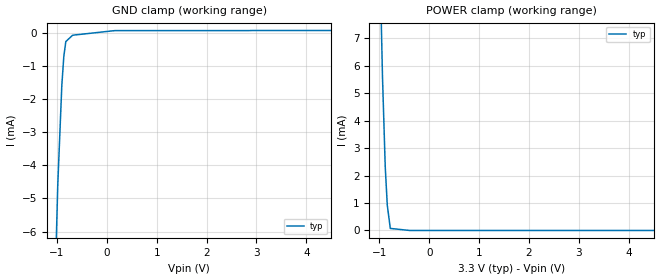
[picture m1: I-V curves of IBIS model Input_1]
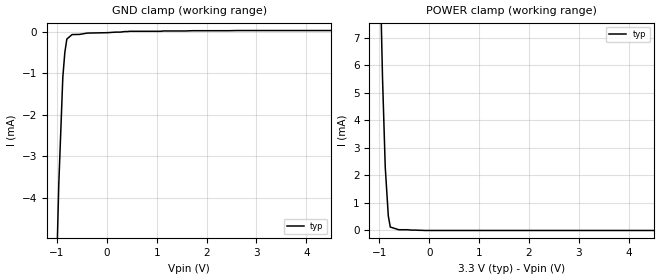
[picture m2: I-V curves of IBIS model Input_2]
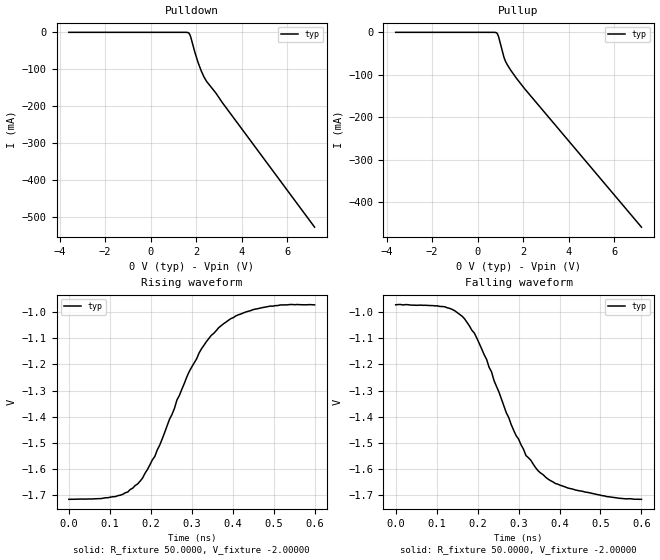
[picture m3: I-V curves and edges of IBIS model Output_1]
|COPYRIGHT(C) TERASPEED CONSULTING GROUP LLC 2003 ALL
|RIGHTS RESERVED. THIS WORK CONTAINS PROPRIETARY
|INFORMATION WHICH IS THE PROPERTY OF TERASPEED
|CONSULTING GROUP LLC OR ITS LICENSORS. USE OF THESE
|MATERIALS IS SUBJECT TO THE TERMS BELOW.
|USE: TERASPEED HAS LICENSED IBIS MODELS TO
|SPECIFIC INTEGRATED CIRCUIT SUPPLIERS ("IC VENDORS")
|FOR USE AND DISTRIBUTION AS FOLLOWS: EACH IC VENDOR
|MAY USE IBIS MODELS, AND DISTRIBUTE THEM TO IC VENDOR'S
|CUSTOMERS TO USE, SOLELY FOR DEVELOPING PRINTED
|CIRCUIT BOARD DESIGNS. NO OTHER USE OR DISTRIBUTION
|OF THESE MATERIALS IS PERMITTED.
|DISCLAIMER OF WARRANTY:  UNLESS OTHERWISE AGREED
|IN WRITING, TERASPEED SOFTWARE AND ASSOCIATED
|FILES ARE PROVIDED "AS IS" AND WITHOUT WARRANTY.
|TERASPEED HAS NO OBLIGATION TO SUPPORT OR
|OTHERWISE MAINTAIN SOFTWARE.  TERASPEED MAKES
|NO WARRANTIES, EXPRESS OR IMPLIED WITH RESPECT TO
|SOFTWARE INCLUDING ANY WARRANTY OF MERCHANTABILITY
|OR FITNESS FOR A PARTICULAR PURPOSE.
|LIMITATION OF LIABILITY:  TERASPEED IS NOT LIABLE FOR
|ANY PROPERTY DAMAGE, PERSONAL INJURY, LOSS OF PROFITS,
|INTERRUPTION OF BUSINESS, OR FOR ANY OTHER SPECIAL,
|CONSEQUENTIAL OR INCIDENTAL DAMAGES, HOWEVER CAUSED,
|WHETHER FOR BREACH OF WARRANTY, CONTRACT, TORT
|(INCLUDING NEGLIGENCE), STRICT LIABILITY OR OTHERWISE. IN NO
|EVENT SHALL TERASPEED'S LIABILITY EXCEED THE AMOUNT
|PAID FOR THE PRODUCT GIVING RISE TO THE CLAIM.
|TRADEMARKS:  THE FOLLOWING ARE REGISTERED TRADEMARKS
|OR SERVICE MARKS OF TERASPEED CONSULTING GROUP LLC:
|THE FOLLOWING ARE TRADEMARKS OR SERVICE MARKS OF
|TERASPEED CONSULTING GROUP LLC:
|ALL OTHER BRANDS AND PRODUCT NAMES ARE TRADEMARKS OF
|THEIR RESPECTIVE OWNERS
|COPIES:  ALL COPIES OF SOFTWARE, INCLUDING BUT NOT LIMITED
|TO ANY MODIFICATIONS, ENHANCEMENTS OR DERIVATIVE WORKS
|MUST CONTAIN ALL TERASPEED'S NOTICES AND LEGENDS,
|INCLUDING THOSE EMBEDDED IN SOFTWARE AND THOSE AFFIXED
|TO THE SOFTWARE MEDIUM AND CONTAINER, AS RECEIVED FROM
|TERASPEED.
[IBIS Ver] 3.2
[File Name] nb100lvep91mn_33v.ibs
[File Rev] 4.0
[Source] Measured and created by Teraspeed Consulting Group LLC
[Date]   8/11/2003
[Notes]  Quality Check of this IBIS model: Model Passes IBIS Check. Model
   parses into ICX IS.
   1. Package model data for LC gained by using TDA Systems Software.
   2. MN suffix added to name indicating 24 ld QFN
[Copyright]
|COPYRIGHT(C) TERASPEED CONSULTING GROUP LLC 2003 ALL
|RIGHTS RESERVED. THIS WORK CONTAINS PROPRIETARY
|INFORMATION WHICH IS THE PROPERTY OF TERASPEED
|CONSULTING GROUP LLC OR ITS LICENSORS. USE OF THESE
|MATERIALS IS SUBJECT TO THE TERMS BELOW.
|USE: TERASPEED HAS LICENSED IBIS MODELS TO
|SPECIFIC INTEGRATED CIRCUIT SUPPLIERS ("IC VENDORS")
|FOR USE AND DISTRIBUTION AS FOLLOWS: EACH IC VENDOR
|MAY USE IBIS MODELS, AND DISTRIBUTE THEM TO IC VENDOR'S
|CUSTOMERS TO USE, SOLELY FOR DEVELOPING PRINTED
|CIRCUIT BOARD DESIGNS. NO OTHER USE OR DISTRIBUTION
|OF THESE MATERIALS IS PERMITTED.
|  Teraspeed Spectrum Model Builder
[Component] NB100LVEP91MN_3.3V
[Manufacturer] OnSemiConductor
[Package]
| variable   typ   min   max
R_pkg  .158ohms   .158ohms   .158ohms
L_pkg  3.37nH   3.37nH   3.37nH
C_pkg  .4pF   .4pF   .4pF
[Pin] signal_name  model_name  R_pin  L_pin C_pin
1   VCC   POWER   0.158ohms   3.37nH   0.4pF
2   D0   Input_1   0.158ohms   3.37nH   0.4pF
3   _D0   Input_2   0.158ohms   3.37nH   0.4pF
4   VBB   POWER   0.158ohms   3.37nH   0.4pF
5   D1   Input_1   0.158ohms   3.37nH   0.4pF
6   _D1   Input_2   0.158ohms   3.37nH   0.4pF
7   VBB   POWER   0.158ohms   3.37nH   0.4pF
8   D2   Input_1   0.158ohms   3.37nH   0.4pF
9   _D2   Input_2   0.158ohms   3.37nH   0.4pF
10  VEE   POWER   0.158ohms   3.37nH   0.4pF
11  NC   NC   0.158ohms   3.37nH   0.4pF
12  _Q2   Output_1   0.158ohms   3.37nH   0.4pF
13  Q2   Output_1   0.158ohms   3.37nH   0.4pF
14  GND   GND   0.158ohms   3.37nH   0.4pF
15  _Q1   Output_1   0.158ohms   3.37nH   0.4pF
16  Q1   Output_1   0.158ohms   3.37nH   0.4pF
17  GND   GND   0.158ohms   3.37nH   0.4pF
18  _Q0   Output_1   0.158ohms   3.37nH   0.4pF
19  Q0   Output_1   0.158ohms   3.37nH   0.4pF
20  VCC   POWER   0.158ohms   3.37nH   0.4pF
[Diff Pin] inv_pin vdiff tdelay_typ tdelay_min tdelay_max
2  3   200mV  NA   NA   NA
5  6   200mV  NA   NA   NA
8  9   200mV  NA   NA   NA
13 12  NA   500p  375p  650p
16 15  NA   500p  375p  650p
19 18  NA   500p  375p  650p
| Models and submodels in the file (3): Input_1 (Input), Input_2 (Input), Output_1 (Output_ECL)
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[Model] Input_1
Model_type Input
Vinl = 875.000mV
Vinh = 1.275000V
C_comp 2.00000pF 2.00000pF 2.00000pF
| variable typ   min   max
[Voltage Range]   3.30000V   NA   NA
[POWER Clamp Reference] 3.30000V   NA   NA
[GND Clamp Reference]   0.00000V   NA   NA
[Temperature Range] 25   NA   NA
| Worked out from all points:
|   GND clamp passes 1 mA (typ) near -0.87 V on its own axis
|   POWER clamp passes 1 mA (typ) near -0.84 V on its own axis
[GND Clamp]
-3.3V     -134.5mA   NA         NA
-1.099V   -11.11mA   NA         NA
-982.2mV  -4.591mA   NA         NA
-901.1mV  -1.593mA   NA         NA
-861mV    -716.8uA   NA         NA
-820.5mV  -268.3uA   NA         NA
-683.8mV  -77.41uA   NA         NA
162.3mV   61.19uA    NA         NA
6.6V      64.49uA    NA         NA
[POWER Clamp]
-3.3V     199.5mA    NA         NA
-1.079V   17.21mA    NA         NA
-937.7mV  5.604mA    NA         NA
-882.5mV  2.319mA    NA         NA
-841.7mV  922.7uA    NA         NA
-781.1mV  74.62uA    NA         NA
-390.6mV  0A         NA         NA
6.6V      0A         NA         NA
[Model] Input_2
Model_type Input
Vinl = 875.000mV
Vinh = 1.275000V
C_comp 2.00000pF  NA  NA
| variable typ   min   max
[Voltage Range]   3.30000V   NA   NA
[POWER Clamp Reference] 3.30000V   NA   NA
[GND Clamp Reference]   0.00000V   NA   NA
[Temperature Range] 25   NA   NA
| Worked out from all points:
|   GND clamp passes 1 mA (typ) near -0.87 V on its own axis
|   POWER clamp passes 1 mA (typ) near -0.84 V on its own axis
[GND Clamp]
-3.3V     -139.7mA   NA         NA
-1.063V   -8.462mA   NA         NA
-962mV    -3.681mA   NA         NA
-881mV    -1.096mA   NA         NA
-840.7mV  -497.8uA   NA         NA
-800.4mV  -174.3uA   NA         NA
-695.4mV  -66.24uA   NA         NA
-393.6mV  -30.62uA   NA         NA
461.5mV   12.8uA     NA         NA
6.6V      31.11uA    NA         NA
[POWER Clamp]
-3.3V     198.5mA    NA         NA
-1.079V   17.14mA    NA         NA
-937.7mV  5.592mA    NA         NA
-882.5mV  2.307mA    NA         NA
-821.2mV  531.1uA    NA         NA
-781.1mV  124.4uA    NA         NA
-611.5mV  26.74uA    NA         NA
-89.4mV   0A         NA         NA
6.6V      0A         NA         NA
[Model] Output_1
Model_type Output_ECL
Vref=-2.0000V
Rref=50.0000ohms
Cref=2.00000pF
Vmeas=-1.30000V
C_comp 0.50000pF   NA  NA
| variable typ   min   max
[Voltage Range]   -3.30000V   NA   NA
[POWER Clamp Reference]  0.00000V   NA   NA
[Pullup Reference]   0.00000V   NA   NA
[Pulldown Reference]   0.00000V   NA   NA
[GND Clamp Reference]   -3.30000V   NA   NA
[Temperature Range] 25   NA  NA
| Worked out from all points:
|   falling waveform, R_fixture 50.0000, V_fixture -2.00000: 20-80 % time 126ps typ, NA min, NA max; typ from -0.972 V to -1.72 V
|   rising waveform, R_fixture 50.0000, V_fixture -2.00000: 20-80 % time 129ps typ, NA min, NA max; typ from -1.72 V to -0.972 V
[GND Clamp]
-7.2V     0A         NA         NA
-6.6V     0A         NA         NA
-6V       0A         NA         NA
0V        0A         NA         NA
3V        0A         NA         NA
3.3V      0A         NA         NA
3.6V      0A         NA         NA
[Pulldown]
-3.6V     103uA      NA         NA
1.523V    78.83uA    NA         NA
1.679V    -2.234mA   NA         NA
1.76V     -13.29mA   NA         NA
1.942V    -54.52mA   NA         NA
2.079V    -81.49mA   NA         NA
2.221V    -104.7mA   NA         NA
2.342V    -121mA     NA         NA
2.458V    -133.2mA   NA         NA
2.862V    -164.5mA   NA         NA
3.14V     -189.8mA   NA         NA
7.2V      -527.9mA   NA         NA
[Pullup]
-3.6V     95.56uA    NA         NA
820.4mV   -708.9uA   NA         NA
860.8mV   -2.439mA   NA         NA
921.1mV   -10.04mA   NA         NA
1.159V    -58.87mA   NA         NA
1.219V    -67.32mA   NA         NA
1.462V    -89.62mA   NA         NA
1.699V    -107.5mA   NA         NA
2.059V    -132.2mA   NA         NA
7.2V      -458.3mA   NA         NA
[POWER Clamp]
-6.9V     0A         NA         NA
-6.6V     0A         NA         NA
-6.3V     0A         NA         NA
-300mV    0A         NA         NA
0V        0A         NA         NA
300mV     0A         NA         NA
2.7V      0A         NA         NA
3.3V      0A         NA         NA
3.9V      0A         NA         NA
[Falling Waveform]
R_fixture = 50.0000
V_fixture = -2.00000
V_fixture_min = -2.00000
V_fixture_max = -2.00000
0s        -972.4mV   NA         NA
120ps     -980mV     NA         NA
168ps     -1.026V    NA         NA
192ps     -1.08V     NA         NA
222ps     -1.181V    NA         NA
270ps     -1.384V    NA         NA
318ps     -1.548V    NA         NA
372ps     -1.638V    NA         NA
438ps     -1.679V    NA         NA
600ps     -1.715V    NA         NA
[Rising Waveform]
R_fixture = 50.0000
V_fixture = -2.00000
V_fixture_min = -2.00000
V_fixture_max = -2.00000
0s        -1.715V    NA         NA
114ps     -1.704V    NA         NA
144ps     -1.687V    NA         NA
174ps     -1.646V    NA         NA
210ps     -1.551V    NA         NA
264ps     -1.335V    NA         NA
318ps     -1.156V    NA         NA
378ps     -1.044V    NA         NA
474ps     -982.5mV   NA         NA
600ps     -972.4mV   NA         NA
[Ramp]
| variable typ min max
dV/dt_r 445.146m/133.942p   NA  NA
dV/dt_f 445.146m/134.937p   NA  NA
R_load = 50.0000Ohms
